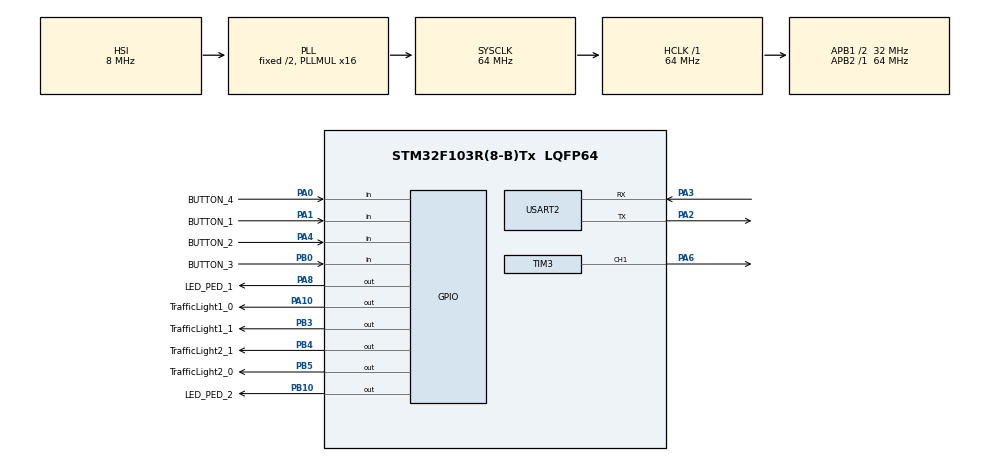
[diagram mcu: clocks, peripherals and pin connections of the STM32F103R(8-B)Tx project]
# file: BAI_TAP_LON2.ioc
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Mcu.Family=STM32F1
Mcu.Name=STM32F103R(8-B)Tx
Mcu.Package=LQFP64
NVIC.PriorityGroup=NVIC_PRIORITYGROUP_4
NVIC.TIM2_IRQn=true\:0\:0\:false\:false\:true\:true\:true
NVIC.USART2_IRQn=true\:1\:0\:true\:false\:true\:true\:true
PA0-WKUP.GPIO_Label=BUTTON_4
PA0-WKUP.GPIO_PuPd=GPIO_PULLUP
PA0-WKUP.Signal=GPIO_Input
PA1.GPIO_Label=BUTTON_1
PA1.GPIO_PuPd=GPIO_PULLUP
PA1.Signal=GPIO_Input
PA10.GPIO_Label=TrafficLight1_0
PA10.Signal=GPIO_Output
PA13.Mode=Serial_Wire
PA13.Signal=SYS_JTMS-SWDIO
PA14.Mode=Serial_Wire
PA14.Signal=SYS_JTCK-SWCLK
PA2.Mode=Asynchronous
PA2.Signal=USART2_TX
PA3.Mode=Asynchronous
PA3.Signal=USART2_RX
PA4.GPIO_Label=BUTTON_2
PA4.GPIO_PuPd=GPIO_PULLUP
PA4.Signal=GPIO_Input
PA6.Signal=S_TIM3_CH1
PA8.GPIO_Label=LED_PED_1
PA8.Signal=GPIO_Output
PB0.GPIO_Label=BUTTON_3
PB0.GPIO_PuPd=GPIO_PULLUP
PB0.Signal=GPIO_Input
PB10.GPIO_Label=LED_PED_2
PB10.Signal=GPIO_Output
PB3.GPIO_Label=TrafficLight1_1
PB3.Signal=GPIO_Output
PB4.GPIO_Label=TrafficLight2_1
PB4.Signal=GPIO_Output
PB5.GPIO_Label=TrafficLight2_0
PB5.Signal=GPIO_Output
PD0-OSC_IN.Mode=HSE-External-Oscillator
PD0-OSC_IN.Signal=RCC_OSC_IN
PD1-OSC_OUT.Mode=HSE-External-Oscillator
PD1-OSC_OUT.Signal=RCC_OSC_OUT
ProjectManager.HeapSize=0x200
ProjectManager.StackSize=0x400
ProjectManager.TargetToolchain=STM32CubeIDE
RCC.AHBFreq_Value=64000000
RCC.APB1CLKDivider=RCC_HCLK_DIV2
RCC.APB1Freq_Value=32000000
RCC.APB1TimFreq_Value=64000000
RCC.APB2Freq_Value=64000000
RCC.APB2TimFreq_Value=64000000
RCC.HCLKFreq_Value=64000000
RCC.PLLMUL=RCC_PLL_MUL16
RCC.SYSCLKFreq_VALUE=64000000
RCC.SYSCLKSource=RCC_SYSCLKSOURCE_PLLCLK
RCC.USBFreq_Value=64000000
SH.S_TIM3_CH1.0=TIM3_CH1,PWM Generation1 CH1
TIM2.Period=79
TIM2.Prescaler=7999
TIM3.Channel-PWM\ Generation1\ CH1=TIM_CHANNEL_1
TIM3.Period=999
TIM3.Prescaler=63
USART2.VirtualMode=VM_ASYNC
VP_TIM2_VS_ClockSourceINT.Mode=Internal
board=custom

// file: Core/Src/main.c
/* USER CODE BEGIN Header */
/**
  ******************************************************************************
  * @file           : main.c
  * @brief          : Main program body
  ******************************************************************************
  * @attention
  *
  * <h2><center>&copy; Copyright (c) 2022 STMicroelectronics.
  * All rights reserved.</center></h2>
  *
  * This software component is licensed by ST under BSD 3-Clause license,
  * the "License"; You may not use this file except in compliance with the
  * License. You may obtain a copy of the License at:
  *                        opensource.org/licenses/BSD-3-Clause
  *
  ******************************************************************************
  */
/* USER CODE END Header */
#include "main.h"

/* USER CODE BEGIN Includes */
#include "button.h"
#include "fsm_automatic.h"
#include "timer.h"
#include "global.h"
#include "control.h"
#include "scheduler.h"
/* USER CODE END Includes */

TIM_HandleTypeDef htim2;
TIM_HandleTypeDef htim3;

UART_HandleTypeDef huart2;

void SystemClock_Config(void);
static void MX_GPIO_Init(void);
static void MX_TIM2_Init(void);
static void MX_USART2_UART_Init(void);
static void MX_TIM3_Init(void);

int main(void)
{

  /* MCU Configuration--------------------------------------------------------*/

  /* Reset of all peripherals, Initializes the Flash interface and the Systick. */
  HAL_Init();

  /* Configure the system clock */
  SystemClock_Config();

  /* Initialize all configured peripherals */
  MX_GPIO_Init();
  MX_TIM2_Init();
  MX_USART2_UART_Init();
  MX_TIM3_Init();
  /* USER CODE BEGIN 2 */
  HAL_TIM_Base_Start_IT (&htim2 );
	status = INIT;
	status1 = INIT;
//	uint32_t PWM = 0;
	global_green = 3;
	global_red = 5;
	global_yellow = 2;
	SCH_Init();
	HAL_TIM_PWM_Start (&htim3, TIM_CHANNEL_1);
	SCH_Add_Task(control_unit, 0, 1);   // controll all the button and state machine
	SCH_Add_Task(getKeyInput1, 0, 1);    /* USER CODE BEGIN 3 */
	SCH_Add_Task(getKeyInput2, 0, 1);    /* USER CODE BEGIN 3 */
	SCH_Add_Task(getKeyInput3, 0, 1);    /* USER CODE BEGIN 3 */
	SCH_Add_Task(getKeyInput4, 0, 1);    /* USER CODE BEGIN 3 */
//	setTimer2(10);
	setTimer4(10);
  /* USER CODE BEGIN 2 */

  /* USER CODE END 2 */

  /* Infinite loop */
  while (1)
  {
	  if(timer4_flag == 1){
		  HAL_UART_Transmit_IT(&huart2,(void*)data,12);
	  }

	  	SCH_Dispatch_Tasks();
	  	__HAL_TIM_SET_COMPARE(&htim3, TIM_CHANNEL_1,PWM);

  }
}

void SystemClock_Config(void)
{
  RCC_OscInitTypeDef RCC_OscInitStruct = {0};
  RCC_ClkInitTypeDef RCC_ClkInitStruct = {0};

  /** Initializes the RCC Oscillators according to the specified parameters
  * in the RCC_OscInitTypeDef structure.
  */
  RCC_OscInitStruct.OscillatorType = RCC_OSCILLATORTYPE_HSI;
  RCC_OscInitStruct.HSIState = RCC_HSI_ON;
  RCC_OscInitStruct.HSICalibrationValue = RCC_HSICALIBRATION_DEFAULT;
  RCC_OscInitStruct.PLL.PLLState = RCC_PLL_ON;
  RCC_OscInitStruct.PLL.PLLSource = RCC_PLLSOURCE_HSI_DIV2;
  RCC_OscInitStruct.PLL.PLLMUL = RCC_PLL_MUL16;
  if (HAL_RCC_OscConfig(&RCC_OscInitStruct) != HAL_OK)
  {
    Error_Handler();
  }
  /** Initializes the CPU, AHB and APB buses clocks
  */
  RCC_ClkInitStruct.ClockType = RCC_CLOCKTYPE_HCLK|RCC_CLOCKTYPE_SYSCLK
                              |RCC_CLOCKTYPE_PCLK1|RCC_CLOCKTYPE_PCLK2;
  RCC_ClkInitStruct.SYSCLKSource = RCC_SYSCLKSOURCE_PLLCLK;
  RCC_ClkInitStruct.AHBCLKDivider = RCC_SYSCLK_DIV1;
  RCC_ClkInitStruct.APB1CLKDivider = RCC_HCLK_DIV2;
  RCC_ClkInitStruct.APB2CLKDivider = RCC_HCLK_DIV1;

  if (HAL_RCC_ClockConfig(&RCC_ClkInitStruct, FLASH_LATENCY_2) != HAL_OK)
  {
    Error_Handler();
  }
}

static void MX_TIM2_Init(void)
{

  TIM_ClockConfigTypeDef sClockSourceConfig = {0};
  TIM_MasterConfigTypeDef sMasterConfig = {0};

  htim2.Instance = TIM2;
  htim2.Init.Prescaler = 7999;
  htim2.Init.CounterMode = TIM_COUNTERMODE_UP;
  htim2.Init.Period = 79;
  htim2.Init.ClockDivision = TIM_CLOCKDIVISION_DIV1;
  htim2.Init.AutoReloadPreload = TIM_AUTORELOAD_PRELOAD_DISABLE;
  if (HAL_TIM_Base_Init(&htim2) != HAL_OK)
  {
    Error_Handler();
  }
  sClockSourceConfig.ClockSource = TIM_CLOCKSOURCE_INTERNAL;
  if (HAL_TIM_ConfigClockSource(&htim2, &sClockSourceConfig) != HAL_OK)
  {
    Error_Handler();
  }
  sMasterConfig.MasterOutputTrigger = TIM_TRGO_RESET;
  sMasterConfig.MasterSlaveMode = TIM_MASTERSLAVEMODE_DISABLE;
  if (HAL_TIMEx_MasterConfigSynchronization(&htim2, &sMasterConfig) != HAL_OK)
  {
    Error_Handler();
  }

}

static void MX_TIM3_Init(void)
{

  TIM_MasterConfigTypeDef sMasterConfig = {0};
  TIM_OC_InitTypeDef sConfigOC = {0};

  htim3.Instance = TIM3;
  htim3.Init.Prescaler = 63;
  htim3.Init.CounterMode = TIM_COUNTERMODE_UP;
  htim3.Init.Period = 999;
  htim3.Init.ClockDivision = TIM_CLOCKDIVISION_DIV1;
  htim3.Init.AutoReloadPreload = TIM_AUTORELOAD_PRELOAD_DISABLE;
  if (HAL_TIM_PWM_Init(&htim3) != HAL_OK)
  {
    Error_Handler();
  }
  sMasterConfig.MasterOutputTrigger = TIM_TRGO_RESET;
  sMasterConfig.MasterSlaveMode = TIM_MASTERSLAVEMODE_DISABLE;
  if (HAL_TIMEx_MasterConfigSynchronization(&htim3, &sMasterConfig) != HAL_OK)
  {
    Error_Handler();
  }
  sConfigOC.OCMode = TIM_OCMODE_PWM1;
  sConfigOC.Pulse = 0;
  sConfigOC.OCPolarity = TIM_OCPOLARITY_HIGH;
  sConfigOC.OCFastMode = TIM_OCFAST_DISABLE;
  if (HAL_TIM_PWM_ConfigChannel(&htim3, &sConfigOC, TIM_CHANNEL_1) != HAL_OK)
  {
    Error_Handler();
  }
  HAL_TIM_MspPostInit(&htim3);

}

static void MX_USART2_UART_Init(void)
{

  huart2.Instance = USART2;
  huart2.Init.BaudRate = 115200;
  huart2.Init.WordLength = UART_WORDLENGTH_8B;
  huart2.Init.StopBits = UART_STOPBITS_1;
  huart2.Init.Parity = UART_PARITY_NONE;
  huart2.Init.Mode = UART_MODE_TX_RX;
  huart2.Init.HwFlowCtl = UART_HWCONTROL_NONE;
  huart2.Init.OverSampling = UART_OVERSAMPLING_16;
  if (HAL_UART_Init(&huart2) != HAL_OK)
  {
    Error_Handler();
  }

}

static void MX_GPIO_Init(void)
{
  GPIO_InitTypeDef GPIO_InitStruct = {0};

  /* GPIO Ports Clock Enable */
  __HAL_RCC_GPIOD_CLK_ENABLE();
  __HAL_RCC_GPIOA_CLK_ENABLE();
  __HAL_RCC_GPIOB_CLK_ENABLE();

  /*Configure GPIO pin Output Level */
  HAL_GPIO_WritePin(GPIOB, LED_PED_2_Pin|TrafficLight1_1_Pin|TrafficLight2_1_Pin|TrafficLight2_0_Pin, GPIO_PIN_RESET);

  /*Configure GPIO pin Output Level */
  HAL_GPIO_WritePin(GPIOA, LED_PED_1_Pin|TrafficLight1_0_Pin, GPIO_PIN_RESET);

  /*Configure GPIO pins : BUTTON_4_Pin BUTTON_1_Pin BUTTON_2_Pin */
  GPIO_InitStruct.Pin = BUTTON_4_Pin|BUTTON_1_Pin|BUTTON_2_Pin;
  GPIO_InitStruct.Mode = GPIO_MODE_INPUT;
  GPIO_InitStruct.Pull = GPIO_PULLUP;
  HAL_GPIO_Init(GPIOA, &GPIO_InitStruct);

  /*Configure GPIO pin : BUTTON_3_Pin */
  GPIO_InitStruct.Pin = BUTTON_3_Pin;
  GPIO_InitStruct.Mode = GPIO_MODE_INPUT;
  GPIO_InitStruct.Pull = GPIO_PULLUP;
  HAL_GPIO_Init(BUTTON_3_GPIO_Port, &GPIO_InitStruct);

  /*Configure GPIO pins : LED_PED_2_Pin TrafficLight1_1_Pin TrafficLight2_1_Pin TrafficLight2_0_Pin */
  GPIO_InitStruct.Pin = LED_PED_2_Pin|TrafficLight1_1_Pin|TrafficLight2_1_Pin|TrafficLight2_0_Pin;
  GPIO_InitStruct.Mode = GPIO_MODE_OUTPUT_PP;
  GPIO_InitStruct.Pull = GPIO_NOPULL;
  GPIO_InitStruct.Speed = GPIO_SPEED_FREQ_LOW;
  HAL_GPIO_Init(GPIOB, &GPIO_InitStruct);

  /*Configure GPIO pins : LED_PED_1_Pin TrafficLight1_0_Pin */
  GPIO_InitStruct.Pin = LED_PED_1_Pin|TrafficLight1_0_Pin;
  GPIO_InitStruct.Mode = GPIO_MODE_OUTPUT_PP;
  GPIO_InitStruct.Pull = GPIO_NOPULL;
  GPIO_InitStruct.Speed = GPIO_SPEED_FREQ_LOW;
  HAL_GPIO_Init(GPIOA, &GPIO_InitStruct);

}

/* USER CODE BEGIN 4 */
void HAL_TIM_PeriodElapsedCallback(TIM_HandleTypeDef *htim){
	timer_run();
	timer_run2();
	timer_run3();
	timer_run4();
	SCH_Update() ;
}
/* USER CODE END 4 */

void Error_Handler(void)
{
  __disable_irq();
  while (1)
  {
  }
}

/************************ (C) COPYRIGHT STMicroelectronics *****END OF FILE****/
